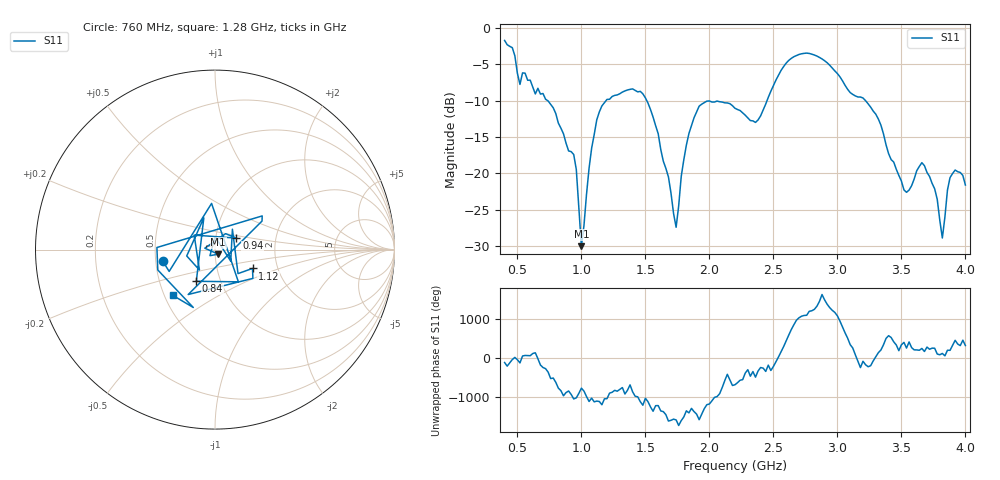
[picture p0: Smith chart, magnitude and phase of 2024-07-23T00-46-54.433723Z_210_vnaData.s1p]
!Created with skrf (http://scikit-rf.org).
# Hz S RI R 50.0
!freq ReS11 ImS11
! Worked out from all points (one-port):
!   181 points, 400 MHz to 4 GHz, reference 50 ohm
!   lowest |S11| = -30.0 dB at 1 GHz (marker M1), VSWR 1.07, Z = 51.8 - j2.67 ohm
!   |S11| at or under -10 dB: 737.7 MHz to 1.192 GHz (454.2 MHz wide, 47.1 % of centre); 1.511 GHz to 2.45 GHz (938.6 MHz wide, 47.4 % of centre); 3.221 GHz to end of sweep
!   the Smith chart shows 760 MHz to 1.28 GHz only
!   S11 on the Smith chart (normalised r, x): 760 MHz: 0.54, -0.08; 840 MHz: 0.77, -0.28; 940 MHz: 1.26, +0.16; 1.12 GHz: 1.48, -0.33; 1.28 GHz: 0.55, -0.32
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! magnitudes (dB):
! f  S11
! 400 MHz  -1.7
! 520 MHz  -7.8
! 760 MHz  -10.5
! 840 MHz  -13.8
! 860 MHz  -14.5
! 940 MHz  -17.4
! 1 GHz  -30.0
! 1.12 GHz  -12.6
! 1.28 GHz  -9.2
! 1.3 GHz  -9.0
! 1.5 GHz  -9.6
! 1.6 GHz  -14.5
! 1.74 GHz  -27.4
! 1.76 GHz  -24.5
! 1.82 GHz  -16.1
! 1.92 GHz  -10.7
! 2.2 GHz  -11.0
! 2.36 GHz  -13.0
! 2.66 GHz  -3.9
! 2.88 GHz  -4.2
! 3.1 GHz  -8.9
! 3.3 GHz  -11.8
! 3.56 GHz  -22.3
! 3.68 GHz  -18.9
! 3.76 GHz  -22.1
! 3.82 GHz  -28.9
! 3.88 GHz  -20.6
! 4 GHz  -21.6
